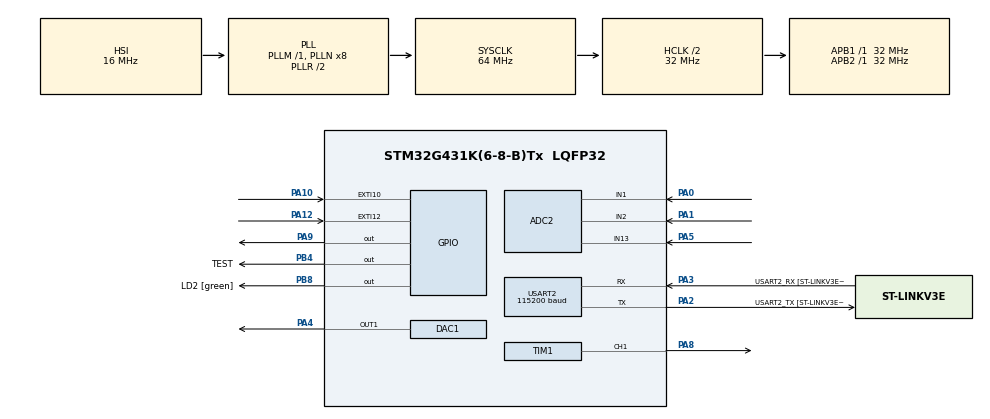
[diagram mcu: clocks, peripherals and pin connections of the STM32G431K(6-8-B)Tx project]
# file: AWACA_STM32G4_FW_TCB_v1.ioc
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ADC2.Channel-3\#ChannelRegularConversion=ADC_CHANNEL_2
ADC2.Channel-4\#ChannelRegularConversion=ADC_CHANNEL_13
ADC2.Channel-5\#ChannelRegularConversion=ADC_CHANNEL_1
ADC2.ContinuousConvMode=ENABLE
ADC2.DMAContinuousRequests=ENABLE
ADC2.EnableRegularConversion=ENABLE
ADC2.LowPowerAutoWait=DISABLE
ADC2.NbrOfConversion=3
ADC2.NbrOfConversionFlag=1
ADC2.OffsetNumber-3\#ChannelRegularConversion=ADC_OFFSET_NONE
ADC2.OffsetNumber-4\#ChannelRegularConversion=ADC_OFFSET_NONE
ADC2.OffsetNumber-5\#ChannelRegularConversion=ADC_OFFSET_NONE
ADC2.Rank-3\#ChannelRegularConversion=1
ADC2.Rank-4\#ChannelRegularConversion=2
ADC2.Rank-5\#ChannelRegularConversion=3
ADC2.SamplingTime-3\#ChannelRegularConversion=ADC_SAMPLETIME_247CYCLES_5
ADC2.SamplingTime-4\#ChannelRegularConversion=ADC_SAMPLETIME_247CYCLES_5
ADC2.SamplingTime-5\#ChannelRegularConversion=ADC_SAMPLETIME_247CYCLES_5
Dma.ADC2.0.Direction=DMA_PERIPH_TO_MEMORY
Dma.ADC2.0.EventEnable=DISABLE
Dma.ADC2.0.Instance=DMA1_Channel1
Dma.ADC2.0.MemDataAlignment=DMA_MDATAALIGN_WORD
Dma.ADC2.0.MemInc=DMA_MINC_ENABLE
Dma.ADC2.0.Mode=DMA_CIRCULAR
Dma.ADC2.0.PeriphDataAlignment=DMA_PDATAALIGN_WORD
Dma.ADC2.0.PeriphInc=DMA_PINC_DISABLE
Dma.ADC2.0.Polarity=HAL_DMAMUX_REQ_GEN_RISING
Dma.ADC2.0.Priority=DMA_PRIORITY_LOW
Dma.ADC2.0.RequestNumber=1
Dma.ADC2.0.SignalID=NONE
Dma.ADC2.0.SyncEnable=DISABLE
Dma.ADC2.0.SyncPolarity=HAL_DMAMUX_SYNC_NO_EVENT
Dma.ADC2.0.SyncRequestNumber=1
Dma.ADC2.0.SyncSignalID=NONE
Dma.Request0=ADC2
Mcu.Family=STM32G4
Mcu.Name=STM32G431K(6-8-B)Tx
Mcu.Package=LQFP32
NVIC.DMA1_Channel1_IRQn=true\:1\:0\:true\:false\:true\:false\:true\:true
NVIC.EXTI15_10_IRQn=true\:2\:0\:true\:false\:true\:true\:true\:true
NVIC.PriorityGroup=NVIC_PRIORITYGROUP_4
NVIC.USART2_IRQn=true\:0\:0\:true\:false\:true\:true\:true\:true
PA0.Mode=IN1-Single-Ended
PA0.Signal=ADC2_IN1
PA1.Mode=IN2-Single-Ended
PA1.Signal=ADC2_IN2
PA10.GPIO_ModeDefaultEXTI=GPIO_MODE_IT_FALLING
PA10.Signal=GPXTI10
PA12.GPIO_ModeDefaultEXTI=GPIO_MODE_IT_FALLING
PA12.Signal=GPXTI12
PA13.GPIO_Label=T_SWDIO
PA13.Mode=Serial_Wire
PA13.Signal=SYS_JTMS-SWDIO
PA14.GPIO_Label=T_SWCLK
PA14.Mode=Serial_Wire
PA14.Signal=SYS_JTCK-SWCLK
PA2.GPIO_Label=USART2_TX [ST-LINKV3E_VCP_RX]
PA2.Mode=Asynchronous
PA2.Signal=USART2_TX
PA3.GPIO_Label=USART2_RX [ST-LINKV3E_VCP_TX]
PA3.Mode=Asynchronous
PA3.Signal=USART2_RX
PA4.Signal=COMP_DAC11_group
PA5.Mode=IN13-Single-Ended
PA5.Signal=ADC2_IN13
PA8.Signal=S_TIM1_CH1
PA9.Signal=GPIO_Output
PB3.GPIO_Label=T_SWO
PB3.Signal=SYS_JTDO-SWO
PB4.GPIO_Label=TEST
PB4.Signal=GPIO_Output
PB8-BOOT0.GPIO_Label=LD2 [green]
PB8-BOOT0.Signal=GPIO_Output
ProjectManager.HeapSize=0x200
ProjectManager.StackSize=0x400
ProjectManager.TargetToolchain=STM32CubeIDE
RCC.ADC12Freq_Value=64000000
RCC.AHBCLKDivider=RCC_SYSCLK_DIV2
RCC.AHBFreq_Value=32000000
RCC.APB1Freq_Value=32000000
RCC.APB1TimFreq_Value=32000000
RCC.APB2Freq_Value=32000000
RCC.APB2TimFreq_Value=32000000
RCC.CortexFreq_Value=32000000
RCC.EXTERNAL_CLOCK_VALUE=12288000
RCC.HCLKFreq_Value=32000000
RCC.HSE_VALUE=8000000
RCC.HSI48_VALUE=48000000
RCC.HSI_VALUE=16000000
RCC.LSE_VALUE=32768
RCC.SYSCLKFreq_VALUE=64000000
RCC.SYSCLKSource=RCC_SYSCLKSOURCE_PLLCLK
RCC.USBFreq_Value=64000000
RCC.VCOOutputFreq_Value=128000000
SH.COMP_DAC11_group.0=DAC1_OUT1,DAC_OUT1
SH.S_TIM1_CH1.0=TIM1_CH1,PWM Generation1 CH1
TIM1.Channel-PWM\ Generation1\ CH1=TIM_CHANNEL_1
TIM1.PeriodNoDither=60000
TIM1.Prescaler=2
TIM1.PulseNoDither_1=30000
USART2.BaudRate=115200
USART2.VirtualMode-Asynchronous=VM_ASYNC
VP_SYS_VS_DBSignals.Mode=DisableDeadBatterySignals
VP_TIM1_VS_ClockSourceINT.Mode=Internal
board=NUCLEO-G431KB

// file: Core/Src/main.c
/* USER CODE BEGIN Header */
/**
  ******************************************************************************
  * @file           : main.c
  * @brief          : Main program body
  ******************************************************************************
  * @attention
  *
  * <h2><center>&copy; Copyright (c) 2022 STMicroelectronics.
  * All rights reserved.</center></h2>
  *
  * This software component is licensed by ST under BSD 3-Clause license,
  * the "License"; You may not use this file except in compliance with the
  * License. You may obtain a copy of the License at:
  *                        opensource.org/licenses/BSD-3-Clause
  *
  ******************************************************************************
  */
/* USER CODE END Header */
#include "main.h"

/* USER CODE BEGIN Includes */
#include <stdio.h>
#include <stdlib.h>
#include <string.h>
#include <math.h>
/* USER CODE END Includes */

 ADC_HandleTypeDef hadc2;
DMA_HandleTypeDef hdma_adc2;

DAC_HandleTypeDef hdac1;

TIM_HandleTypeDef htim1;

UART_HandleTypeDef huart2;

void SystemClock_Config(void);
static void MX_GPIO_Init(void);
static void MX_USART2_UART_Init(void);
static void MX_TIM1_Init(void);
static void MX_DMA_Init(void);
static void MX_DAC1_Init(void);
static void MX_ADC2_Init(void);
/* USER CODE BEGIN PFP */

void TransmitDataMonitoring(void);

/* USER CODE END PFP */

/* USER CODE BEGIN 0 */
uint8_t Buffer_UART_TX[8];
extern char *raw_frame;

/* USER CODE END 0 */

int main(void)
{
  /* USER CODE BEGIN 1 */
	raw_frame = calloc(100, 1);
	Buffer_UART_TX[6] = 13; 		// | 2 last bytes corresponding to a line return when UART is used :
	Buffer_UART_TX[7] = 10; 		// | ASCII: \r\n    hex: (0x0D 0x0A)    dec: (13; 10)

  /* USER CODE END 1 */

  /* MCU Configuration--------------------------------------------------------*/

  /* Reset of all peripherals, Initializes the Flash interface and the Systick. */
  HAL_Init();

  /* Configure the system clock */
  SystemClock_Config();

  /* Initialize all configured peripherals */
  MX_GPIO_Init();
  MX_USART2_UART_Init();
  MX_TIM1_Init();
  MX_DMA_Init();
  MX_DAC1_Init();
  MX_ADC2_Init();
  /* USER CODE BEGIN 2 */

  HAL_ADC_Start_DMA(&hadc2, Buffer_ADC2, 3);
  HAL_DAC_Start(&hdac1, DAC_CHANNEL_1);

  HAL_UART_Receive_IT(&huart2, Buffer_UART_RX, 1);

  HAL_TIM_PWM_Start(&htim1, TIM_CHANNEL_1);
  HAL_GPIO_WritePin(GPIOA, GPIO_PIN_9, GPIO_PIN_SET); // Set SHDN on HIGH to let the TEC module running

  Checking_Alarms_State_OB();
  Setting_Parameters_PicoLAS();

  /* USER CODE END 2 */

  /* Infinite loop */
  while (1)
  {

    /* USER CODE BEGIN 3 */

	Receiving_Data_OB();
	Data_Processing_OB();
	Control_Internal_Fan_OB();
	//TransmitDataMonitoring();
  }
  /* USER CODE END 3 */
}

void SystemClock_Config(void)
{
  RCC_OscInitTypeDef RCC_OscInitStruct = {0};
  RCC_ClkInitTypeDef RCC_ClkInitStruct = {0};

  /** Configure the main internal regulator output voltage
  */
  HAL_PWREx_ControlVoltageScaling(PWR_REGULATOR_VOLTAGE_SCALE1);

  /** Initializes the RCC Oscillators according to the specified parameters
  * in the RCC_OscInitTypeDef structure.
  */
  RCC_OscInitStruct.OscillatorType = RCC_OSCILLATORTYPE_HSI;
  RCC_OscInitStruct.HSIState = RCC_HSI_ON;
  RCC_OscInitStruct.HSICalibrationValue = RCC_HSICALIBRATION_DEFAULT;
  RCC_OscInitStruct.PLL.PLLState = RCC_PLL_ON;
  RCC_OscInitStruct.PLL.PLLSource = RCC_PLLSOURCE_HSI;
  RCC_OscInitStruct.PLL.PLLM = RCC_PLLM_DIV1;
  RCC_OscInitStruct.PLL.PLLN = 8;
  RCC_OscInitStruct.PLL.PLLP = RCC_PLLP_DIV2;
  RCC_OscInitStruct.PLL.PLLQ = RCC_PLLQ_DIV2;
  RCC_OscInitStruct.PLL.PLLR = RCC_PLLR_DIV2;
  if (HAL_RCC_OscConfig(&RCC_OscInitStruct) != HAL_OK)
  {
    Error_Handler();
  }

  /** Initializes the CPU, AHB and APB buses clocks
  */
  RCC_ClkInitStruct.ClockType = RCC_CLOCKTYPE_HCLK|RCC_CLOCKTYPE_SYSCLK
                              |RCC_CLOCKTYPE_PCLK1|RCC_CLOCKTYPE_PCLK2;
  RCC_ClkInitStruct.SYSCLKSource = RCC_SYSCLKSOURCE_PLLCLK;
  RCC_ClkInitStruct.AHBCLKDivider = RCC_SYSCLK_DIV2;
  RCC_ClkInitStruct.APB1CLKDivider = RCC_HCLK_DIV1;
  RCC_ClkInitStruct.APB2CLKDivider = RCC_HCLK_DIV1;

  if (HAL_RCC_ClockConfig(&RCC_ClkInitStruct, FLASH_LATENCY_0) != HAL_OK)
  {
    Error_Handler();
  }
}

static void MX_ADC2_Init(void)
{

  ADC_ChannelConfTypeDef sConfig = {0};

  /** Common config
  */
  hadc2.Instance = ADC2;
  hadc2.Init.ClockPrescaler = ADC_CLOCK_SYNC_PCLK_DIV2;
  hadc2.Init.Resolution = ADC_RESOLUTION_12B;
  hadc2.Init.DataAlign = ADC_DATAALIGN_RIGHT;
  hadc2.Init.GainCompensation = 0;
  hadc2.Init.ScanConvMode = ADC_SCAN_ENABLE;
  hadc2.Init.EOCSelection = ADC_EOC_SINGLE_CONV;
  hadc2.Init.LowPowerAutoWait = DISABLE;
  hadc2.Init.ContinuousConvMode = ENABLE;
  hadc2.Init.NbrOfConversion = 3;
  hadc2.Init.DiscontinuousConvMode = DISABLE;
  hadc2.Init.ExternalTrigConv = ADC_SOFTWARE_START;
  hadc2.Init.ExternalTrigConvEdge = ADC_EXTERNALTRIGCONVEDGE_NONE;
  hadc2.Init.DMAContinuousRequests = ENABLE;
  hadc2.Init.Overrun = ADC_OVR_DATA_PRESERVED;
  hadc2.Init.OversamplingMode = DISABLE;
  if (HAL_ADC_Init(&hadc2) != HAL_OK)
  {
    Error_Handler();
  }

  /** Configure Regular Channel
  */
  sConfig.Channel = ADC_CHANNEL_2;
  sConfig.Rank = ADC_REGULAR_RANK_1;
  sConfig.SamplingTime = ADC_SAMPLETIME_247CYCLES_5;
  sConfig.SingleDiff = ADC_SINGLE_ENDED;
  sConfig.OffsetNumber = ADC_OFFSET_NONE;
  sConfig.Offset = 0;
  if (HAL_ADC_ConfigChannel(&hadc2, &sConfig) != HAL_OK)
  {
    Error_Handler();
  }

  /** Configure Regular Channel
  */
  sConfig.Channel = ADC_CHANNEL_13;
  sConfig.Rank = ADC_REGULAR_RANK_2;
  if (HAL_ADC_ConfigChannel(&hadc2, &sConfig) != HAL_OK)
  {
    Error_Handler();
  }

  /** Configure Regular Channel
  */
  sConfig.Channel = ADC_CHANNEL_1;
  sConfig.Rank = ADC_REGULAR_RANK_3;
  if (HAL_ADC_ConfigChannel(&hadc2, &sConfig) != HAL_OK)
  {
    Error_Handler();
  }
  /* USER CODE BEGIN ADC2_Init 2 */

  /*============================================ NOTA BENE ====================================
   *
   *
   * It is necessary to comment the upon configuration defining the channels. We are replacing
   * those by the functions under. At every modification in MX, you have to modify and recomment
   *
   *
   * ============================================ NOTA BENE ====================================*/
  /* USER CODE END ADC2_Init 2 */

}

static void MX_DAC1_Init(void)
{

  DAC_ChannelConfTypeDef sConfig = {0};

  /** DAC Initialization
  */
  hdac1.Instance = DAC1;
  if (HAL_DAC_Init(&hdac1) != HAL_OK)
  {
    Error_Handler();
  }

  /** DAC channel OUT1 config
  */
  sConfig.DAC_HighFrequency = DAC_HIGH_FREQUENCY_INTERFACE_MODE_AUTOMATIC;
  sConfig.DAC_DMADoubleDataMode = DISABLE;
  sConfig.DAC_SignedFormat = DISABLE;
  sConfig.DAC_SampleAndHold = DAC_SAMPLEANDHOLD_DISABLE;
  sConfig.DAC_Trigger = DAC_TRIGGER_NONE;
  sConfig.DAC_Trigger2 = DAC_TRIGGER_NONE;
  sConfig.DAC_OutputBuffer = DAC_OUTPUTBUFFER_ENABLE;
  sConfig.DAC_ConnectOnChipPeripheral = DAC_CHIPCONNECT_EXTERNAL;
  sConfig.DAC_UserTrimming = DAC_TRIMMING_FACTORY;
  if (HAL_DAC_ConfigChannel(&hdac1, &sConfig, DAC_CHANNEL_1) != HAL_OK)
  {
    Error_Handler();
  }

}

static void MX_TIM1_Init(void)
{

  TIM_ClockConfigTypeDef sClockSourceConfig = {0};
  TIM_MasterConfigTypeDef sMasterConfig = {0};
  TIM_OC_InitTypeDef sConfigOC = {0};
  TIM_BreakDeadTimeConfigTypeDef sBreakDeadTimeConfig = {0};

  htim1.Instance = TIM1;
  htim1.Init.Prescaler = 2;
  htim1.Init.CounterMode = TIM_COUNTERMODE_UP;
  htim1.Init.Period = 60000;
  htim1.Init.ClockDivision = TIM_CLOCKDIVISION_DIV1;
  htim1.Init.RepetitionCounter = 0;
  htim1.Init.AutoReloadPreload = TIM_AUTORELOAD_PRELOAD_DISABLE;
  if (HAL_TIM_Base_Init(&htim1) != HAL_OK)
  {
    Error_Handler();
  }
  sClockSourceConfig.ClockSource = TIM_CLOCKSOURCE_INTERNAL;
  if (HAL_TIM_ConfigClockSource(&htim1, &sClockSourceConfig) != HAL_OK)
  {
    Error_Handler();
  }
  if (HAL_TIM_PWM_Init(&htim1) != HAL_OK)
  {
    Error_Handler();
  }
  sMasterConfig.MasterOutputTrigger = TIM_TRGO_RESET;
  sMasterConfig.MasterOutputTrigger2 = TIM_TRGO2_RESET;
  sMasterConfig.MasterSlaveMode = TIM_MASTERSLAVEMODE_DISABLE;
  if (HAL_TIMEx_MasterConfigSynchronization(&htim1, &sMasterConfig) != HAL_OK)
  {
    Error_Handler();
  }
  sConfigOC.OCMode = TIM_OCMODE_PWM1;
  sConfigOC.Pulse = 30000;
  sConfigOC.OCPolarity = TIM_OCPOLARITY_HIGH;
  sConfigOC.OCNPolarity = TIM_OCNPOLARITY_HIGH;
  sConfigOC.OCFastMode = TIM_OCFAST_DISABLE;
  sConfigOC.OCIdleState = TIM_OCIDLESTATE_RESET;
  sConfigOC.OCNIdleState = TIM_OCNIDLESTATE_RESET;
  if (HAL_TIM_PWM_ConfigChannel(&htim1, &sConfigOC, TIM_CHANNEL_1) != HAL_OK)
  {
    Error_Handler();
  }
  sBreakDeadTimeConfig.OffStateRunMode = TIM_OSSR_DISABLE;
  sBreakDeadTimeConfig.OffStateIDLEMode = TIM_OSSI_DISABLE;
  sBreakDeadTimeConfig.LockLevel = TIM_LOCKLEVEL_OFF;
  sBreakDeadTimeConfig.DeadTime = 0;
  sBreakDeadTimeConfig.BreakState = TIM_BREAK_DISABLE;
  sBreakDeadTimeConfig.BreakPolarity = TIM_BREAKPOLARITY_HIGH;
  sBreakDeadTimeConfig.BreakFilter = 0;
  sBreakDeadTimeConfig.BreakAFMode = TIM_BREAK_AFMODE_INPUT;
  sBreakDeadTimeConfig.Break2State = TIM_BREAK2_DISABLE;
  sBreakDeadTimeConfig.Break2Polarity = TIM_BREAK2POLARITY_HIGH;
  sBreakDeadTimeConfig.Break2Filter = 0;
  sBreakDeadTimeConfig.Break2AFMode = TIM_BREAK_AFMODE_INPUT;
  sBreakDeadTimeConfig.AutomaticOutput = TIM_AUTOMATICOUTPUT_DISABLE;
  if (HAL_TIMEx_ConfigBreakDeadTime(&htim1, &sBreakDeadTimeConfig) != HAL_OK)
  {
    Error_Handler();
  }
  HAL_TIM_MspPostInit(&htim1);

}

static void MX_USART2_UART_Init(void)
{

  huart2.Instance = USART2;
  huart2.Init.BaudRate = 115200;
  huart2.Init.WordLength = UART_WORDLENGTH_8B;
  huart2.Init.StopBits = UART_STOPBITS_1;
  huart2.Init.Parity = UART_PARITY_NONE;
  huart2.Init.Mode = UART_MODE_TX_RX;
  huart2.Init.HwFlowCtl = UART_HWCONTROL_NONE;
  huart2.Init.OverSampling = UART_OVERSAMPLING_16;
  huart2.Init.OneBitSampling = UART_ONE_BIT_SAMPLE_DISABLE;
  huart2.Init.ClockPrescaler = UART_PRESCALER_DIV1;
  huart2.AdvancedInit.AdvFeatureInit = UART_ADVFEATURE_NO_INIT;
  if (HAL_UART_Init(&huart2) != HAL_OK)
  {
    Error_Handler();
  }
  if (HAL_UARTEx_SetTxFifoThreshold(&huart2, UART_TXFIFO_THRESHOLD_1_8) != HAL_OK)
  {
    Error_Handler();
  }
  if (HAL_UARTEx_SetRxFifoThreshold(&huart2, UART_RXFIFO_THRESHOLD_1_8) != HAL_OK)
  {
    Error_Handler();
  }
  if (HAL_UARTEx_DisableFifoMode(&huart2) != HAL_OK)
  {
    Error_Handler();
  }

}

static void MX_DMA_Init(void)
{

  /* DMA controller clock enable */
  __HAL_RCC_DMAMUX1_CLK_ENABLE();
  __HAL_RCC_DMA1_CLK_ENABLE();

  /* DMA interrupt init */
  /* DMA1_Channel1_IRQn interrupt configuration */
  HAL_NVIC_SetPriority(DMA1_Channel1_IRQn, 1, 0);
  HAL_NVIC_EnableIRQ(DMA1_Channel1_IRQn);

}

static void MX_GPIO_Init(void)
{
  GPIO_InitTypeDef GPIO_InitStruct = {0};

  /* GPIO Ports Clock Enable */
  __HAL_RCC_GPIOA_CLK_ENABLE();
  __HAL_RCC_GPIOB_CLK_ENABLE();

  /*Configure GPIO pin Output Level */
  HAL_GPIO_WritePin(GPIOA, GPIO_PIN_9, GPIO_PIN_RESET);

  /*Configure GPIO pin Output Level */
  HAL_GPIO_WritePin(GPIOB, TEST_Pin|LD2_Pin, GPIO_PIN_RESET);

  /*Configure GPIO pin : PA9 */
  GPIO_InitStruct.Pin = GPIO_PIN_9;
  GPIO_InitStruct.Mode = GPIO_MODE_OUTPUT_PP;
  GPIO_InitStruct.Pull = GPIO_NOPULL;
  GPIO_InitStruct.Speed = GPIO_SPEED_FREQ_LOW;
  HAL_GPIO_Init(GPIOA, &GPIO_InitStruct);

  /*Configure GPIO pins : PA10 PA12 */
  GPIO_InitStruct.Pin = GPIO_PIN_10|GPIO_PIN_12;
  GPIO_InitStruct.Mode = GPIO_MODE_IT_FALLING;
  GPIO_InitStruct.Pull = GPIO_NOPULL;
  HAL_GPIO_Init(GPIOA, &GPIO_InitStruct);

  /*Configure GPIO pins : TEST_Pin LD2_Pin */
  GPIO_InitStruct.Pin = TEST_Pin|LD2_Pin;
  GPIO_InitStruct.Mode = GPIO_MODE_OUTPUT_PP;
  GPIO_InitStruct.Pull = GPIO_NOPULL;
  GPIO_InitStruct.Speed = GPIO_SPEED_FREQ_LOW;
  HAL_GPIO_Init(GPIOB, &GPIO_InitStruct);

  /* EXTI interrupt init*/
  HAL_NVIC_SetPriority(EXTI15_10_IRQn, 2, 0);
  HAL_NVIC_EnableIRQ(EXTI15_10_IRQn);

}

/* USER CODE BEGIN 4 */

//void ADC2_Select_CH2 (void)
//{
//	ADC_ChannelConfTypeDef sConfig = {0};
//	sConfig.Channel = ADC_CHANNEL_2;
//	sConfig.Rank = ADC_REGULAR_RANK_1;
//	sConfig.SamplingTime = ADC_SAMPLETIME_47CYCLES_5;
//	sConfig.SingleDiff = ADC_SINGLE_ENDED;
//	sConfig.OffsetNumber = ADC_OFFSET_NONE;
//	sConfig.Offset = 0;
//	if (HAL_ADC_ConfigChannel(&hadc2, &sConfig) != HAL_OK)
//	{
//	Error_Handler();
//	}
//}
//
//void ADC2_Select_CH13 (void)
//{
//	ADC_ChannelConfTypeDef sConfig = {0};
//	sConfig.Channel = ADC_CHANNEL_13;
//	sConfig.Rank = ADC_REGULAR_RANK_1;
//	sConfig.SamplingTime = ADC_SAMPLETIME_47CYCLES_5;
//	sConfig.SingleDiff = ADC_SINGLE_ENDED;
//	sConfig.OffsetNumber = ADC_OFFSET_NONE;
//	sConfig.Offset = 0;
//	if (HAL_ADC_ConfigChannel(&hadc2, &sConfig) != HAL_OK)
//	{
//		Error_Handler();
//	}
//}

void TransmitDataMonitoring(void)
{
	Buffer_UART_TX[0] = (uint8_t)Raw_Data_ADC_NTC_TEC;
	Buffer_UART_TX[1] = (uint8_t)(Raw_Data_ADC_NTC_TEC >> 8);
	Buffer_UART_TX[2] = (uint8_t)Raw_Data_TEC_Current;
	Buffer_UART_TX[3] = (uint8_t)(Raw_Data_TEC_Current >> 8);
	Buffer_UART_TX[4] = (uint8_t)Raw_Data_ADC_NTC_FAN;
	Buffer_UART_TX[5] = (uint8_t)(Raw_Data_ADC_NTC_FAN >> 8);

	HAL_UART_Transmit(&huart2, (uint8_t*)Buffer_UART_TX, 8, HAL_MAX_DELAY);
}

void HAL_UART_RxCpltCallback(UART_HandleTypeDef *huart)
{
	/* Data has been sent from OBC*/
	Receiving_Data_OBC(); //MISE EN PAUSE DE LA FONCTION

}

void HAL_GPIO_EXTI_Callback(uint16_t GPIO_Pin)
{
	/* Alarms has been switched on, set flag = 1 */
	Setting_Alarms_State_OB(GPIO_Pin);
}

void UpdatePWMDutyCycle()
{

	__HAL_TIM_SET_COMPARE(&htim1, TIM_CHANNEL_1, Duty_Cycle_PWM_Fan); //sets the PWM duty cycle (Capture Compare Value)
}

/* USER CODE END 4 */

void Error_Handler(void)
{
  __disable_irq();
  while (1)
  {
  }
}
